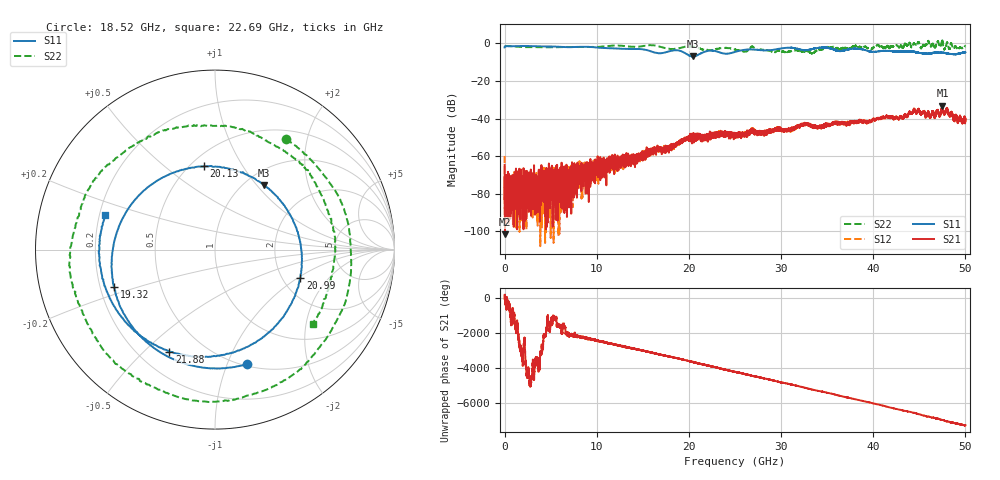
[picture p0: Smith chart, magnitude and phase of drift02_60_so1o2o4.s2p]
!Created with skrf (http://scikit-rf.org).
# Hz S RI R 50.0
!freq ReS11 ImS11 ReS21 ImS21 ReS12 ImS12 ReS22 ImS22
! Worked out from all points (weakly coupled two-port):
!   10001 points, 300 kHz to 50 GHz, reference 50 ohm
!   highest |S21| = -33.15 dB at 47.51 GHz (marker M1); lowest = -101.6 dB at 45.3 MHz (marker M2)
!   lowest |S11| = -6.9 dB at 20.45 GHz (marker M3), VSWR 2.64, Z = 60.6 + j54.6 ohm
!   |S11| at or under -10 dB: nowhere
!   |S22| runs from -5.4 to 1.6 dB; largest |S21 - S12| = 0.0031
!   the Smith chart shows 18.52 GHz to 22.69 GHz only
!   S11 on the Smith chart (normalised r, x): 18.52 GHz: 0.52, -1.18; 19.32 GHz: 0.26, -0.17; 20.13 GHz: 0.58, +0.69; 20.99 GHz: 2.51, -1.05; 21.88 GHz: 0.32, -0.60; 22.69 GHz: 0.22, +0.15
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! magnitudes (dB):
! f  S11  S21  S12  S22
! 300 kHz  -2.1  -64.7  -59.9  -1.3
! 45.3 MHz  -1.7  -101.6  -76.3  -1.3
! 255.3 MHz  -1.4  -70.2  -72.5  -1.4
! 1.355 GHz  -1.4  -80.8  -72.9  -1.7
! 2.08 GHz  -1.3  -77.2  -74.4  -1.9
! 5.655 GHz  -1.7  -71.1  -77.7  -2.0
! 8.335 GHz  -1.7  -65.1  -68.4  -1.9
! 16.67 GHz  -5.2  -56.3  -55.8  -1.5
! 18.52 GHz  -3.6  -54.2  -53.7  -2.7
! 19.32 GHz  -4.4  -51.4  -52.0  -2.1
! 20.13 GHz  -6.6  -48.4  -50.0  -1.5
! 20.45 GHz  -6.9  -49.6  -49.9  -1.8
! 20.99 GHz  -6.0  -49.0  -50.3  -2.3
! 21.88 GHz  -4.1  -50.7  -50.4  -3.4
! 22.69 GHz  -3.9  -49.6  -49.4  -3.3
! 25 GHz  -4.5  -48.0  -48.7  -3.2
! 26.91 GHz  -3.2  -47.5  -46.9  -1.6
! 33.34 GHz  -3.0  -43.5  -43.8  -5.2
! 34.89 GHz  -2.2  -42.9  -43.4  -2.3
! 41.67 GHz  -4.0  -39.0  -39.1  -2.1
! 47.51 GHz  -4.8  -33.1  -33.5  1.6
! 50 GHz  -4.7  -40.9  -40.8  -1.5
